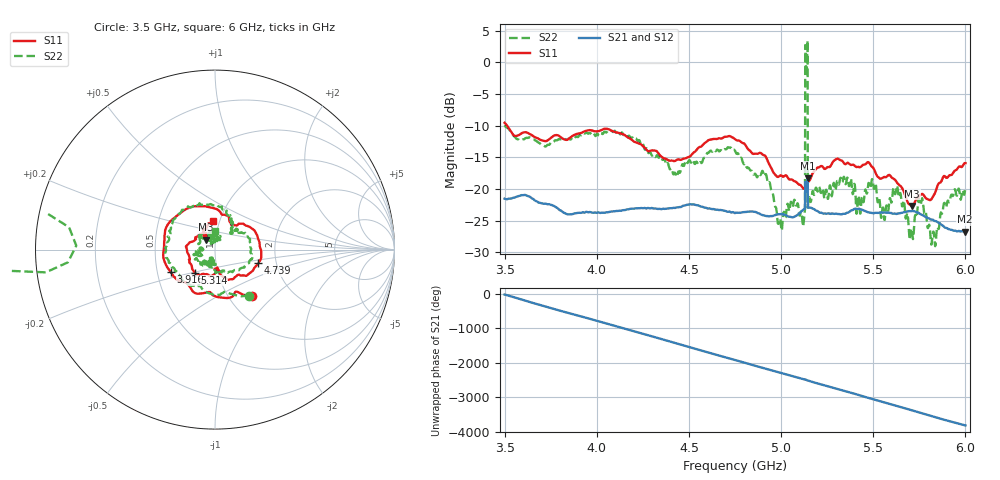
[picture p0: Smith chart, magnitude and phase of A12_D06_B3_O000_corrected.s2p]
! Created with skrf 1.9.0 (http://scikit-rf.org).
# Hz S RI R 50.0
!freq ReS11 ImS11 ReS21 ImS21 ReS12 ImS12 ReS22 ImS22
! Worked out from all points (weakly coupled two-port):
!   1601 points, 3.5 GHz to 6 GHz, reference 50 ohm
!   highest |S21| = -18.31 dB at 5.144 GHz (marker M1); lowest = -26.7 dB at 5.995 GHz (marker M2)
!   lowest |S11| = -22.7 dB at 5.711 GHz (marker M3), VSWR 1.16, Z = 45.1 + j4.97 ohm
!   |S11| at or under -10 dB: 3.513 GHz to end of sweep
!   |S22| runs from -29.0 to 3.4 dB; largest |S21 - S12| = 0.0011
!   S11 on the Smith chart (normalised r, x): 3.5 GHz: 1.28, -0.75; 3.916 GHz: 0.59, -0.16; 4.739 GHz: 1.61, -0.26; 5.314 GHz: 0.77, -0.20; 6 GHz: 0.93, +0.30
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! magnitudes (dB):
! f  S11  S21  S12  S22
! 3.5 GHz  -9.6  -21.5  -21.5  -9.9
! 3.916 GHz  -11.2  -23.8  -23.7  -11.5
! 3.917 GHz  -11.1  -23.8  -23.7  -11.5
! 4.334 GHz  -14.4  -23.2  -23.1  -15.0
! 4.427 GHz  -15.6  -23.0  -22.9  -17.6
! 4.739 GHz  -11.9  -23.7  -23.7  -13.9
! 4.75 GHz  -12.1  -23.8  -23.7  -14.0
! 4.911 GHz  -14.7  -24.2  -24.1  -18.0
! 4.994 GHz  -17.9  -24.0  -23.9  -24.7
! 5.114 GHz  -19.7  -23.4  -23.4  -24.5
! 5.131 GHz  -19.6  -18.9  -18.9  2.7
! 5.144 GHz  -18.9  -18.3  -18.3  3.4
! 5.158 GHz  -18.5  -23.0  -22.9  -21.8
! 5.167 GHz  -17.8  -23.0  -23.0  -20.8
! 5.314 GHz  -15.3  -24.0  -23.9  -19.3
! 5.584 GHz  -17.8  -23.8  -23.7  -22.7
! 5.636 GHz  -19.2  -23.9  -23.8  -20.8
! 5.711 GHz  -22.7  -23.5  -23.4  -26.9
! 5.755 GHz  -21.0  -24.0  -23.9  -22.5
! 5.827 GHz  -21.1  -24.9  -24.9  -26.7
! 5.995 GHz  -15.9  -26.7  -26.6  -20.8
! 6 GHz  -15.9  -26.7  -26.6  -19.8
